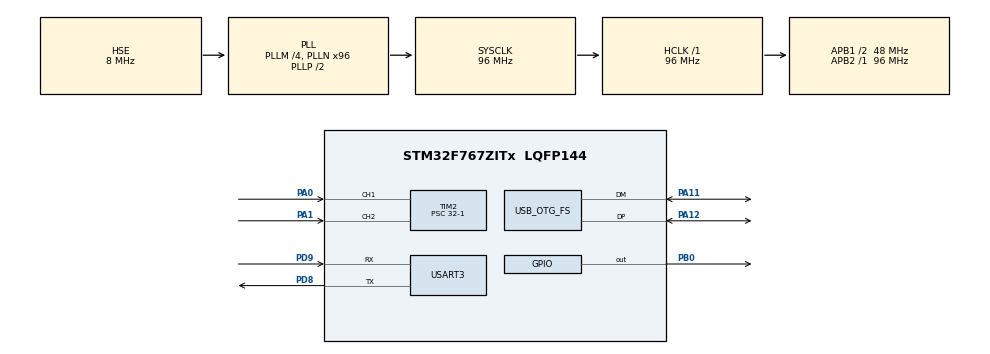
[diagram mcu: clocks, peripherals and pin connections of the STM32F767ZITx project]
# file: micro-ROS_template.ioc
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CORTEX_M7.default_mode_Activation=1
Dma.Request0=USART3_RX
Dma.Request1=USART3_TX
Dma.USART3_RX.0.Direction=DMA_PERIPH_TO_MEMORY
Dma.USART3_RX.0.FIFOMode=DMA_FIFOMODE_DISABLE
Dma.USART3_RX.0.Instance=DMA1_Stream1
Dma.USART3_RX.0.MemDataAlignment=DMA_MDATAALIGN_BYTE
Dma.USART3_RX.0.MemInc=DMA_MINC_ENABLE
Dma.USART3_RX.0.Mode=DMA_CIRCULAR
Dma.USART3_RX.0.PeriphDataAlignment=DMA_PDATAALIGN_BYTE
Dma.USART3_RX.0.PeriphInc=DMA_PINC_DISABLE
Dma.USART3_RX.0.Priority=DMA_PRIORITY_VERY_HIGH
Dma.USART3_TX.1.Direction=DMA_MEMORY_TO_PERIPH
Dma.USART3_TX.1.FIFOMode=DMA_FIFOMODE_DISABLE
Dma.USART3_TX.1.Instance=DMA1_Stream3
Dma.USART3_TX.1.MemDataAlignment=DMA_MDATAALIGN_BYTE
Dma.USART3_TX.1.MemInc=DMA_MINC_ENABLE
Dma.USART3_TX.1.Mode=DMA_NORMAL
Dma.USART3_TX.1.PeriphDataAlignment=DMA_PDATAALIGN_BYTE
Dma.USART3_TX.1.PeriphInc=DMA_PINC_DISABLE
Dma.USART3_TX.1.Priority=DMA_PRIORITY_VERY_HIGH
FREERTOS.Tasks01=defaultTask,24,3000,StartDefaultTask,Default,NULL,Static,defaultTaskBuffer,defaultTaskControlBlock
Mcu.Family=STM32F7
Mcu.Name=STM32F767ZITx
Mcu.Package=LQFP144
NVIC.DMA1_Stream1_IRQn=true\:5\:0\:false\:false\:true\:true\:false\:true\:true
NVIC.DMA1_Stream3_IRQn=true\:5\:0\:false\:false\:true\:true\:false\:true\:true
NVIC.OTG_FS_IRQn=true\:5\:0\:false\:false\:true\:true\:false\:true\:true
NVIC.PriorityGroup=NVIC_PRIORITYGROUP_4
NVIC.TIM8_TRG_COM_TIM14_IRQn=true\:15\:0\:false\:false\:true\:false\:false\:true\:true
NVIC.TimeBase=TIM8_TRG_COM_TIM14_IRQn
NVIC.TimeBaseIP=TIM14
NVIC.USART3_IRQn=true\:5\:0\:false\:false\:true\:true\:true\:true\:true
PA0/WKUP.Signal=S_TIM2_CH1_ETR
PA1.Signal=S_TIM2_CH2
PA11.Mode=Device_Only
PA11.Signal=USB_OTG_FS_DM
PA12.Mode=Device_Only
PA12.Signal=USB_OTG_FS_DP
PB0.Signal=GPIO_Output
PD8.Mode=Asynchronous
PD8.Signal=USART3_TX
PD9.Mode=Asynchronous
PD9.Signal=USART3_RX
PH0/OSC_IN.Mode=HSE-External-Oscillator
PH0/OSC_IN.Signal=RCC_OSC_IN
PH1/OSC_OUT.Mode=HSE-External-Oscillator
PH1/OSC_OUT.Signal=RCC_OSC_OUT
ProjectManager.HeapSize=0x200
ProjectManager.StackSize=0x400
ProjectManager.TargetToolchain=STM32CubeIDE
RCC.AHBFreq_Value=96000000
RCC.APB1CLKDivider=RCC_HCLK_DIV2
RCC.APB1Freq_Value=48000000
RCC.APB1TimFreq_Value=96000000
RCC.APB2Freq_Value=96000000
RCC.APB2TimFreq_Value=96000000
RCC.CortexFreq_Value=96000000
RCC.HCLKFreq_Value=96000000
RCC.HSE_VALUE=8000000
RCC.HSI_VALUE=16000000
RCC.LSE_VALUE=32768
RCC.PLLM=4
RCC.PLLN=96
RCC.PLLQ=4
RCC.SYSCLKFreq_VALUE=96000000
RCC.SYSCLKSource=RCC_SYSCLKSOURCE_PLLCLK
RCC.USBFreq_Value=48000000
RCC.VCOOutputFreq_Value=192000000
SH.S_TIM2_CH1_ETR.0=TIM2_CH1,Encoder_Interface
SH.S_TIM2_CH2.0=TIM2_CH2,Encoder_Interface
TIM2.Period=4096-1
TIM2.Prescaler=32-1
USART3.VirtualMode-Asynchronous=VM_ASYNC
USB_DEVICE.CLASS_NAME_FS=CDC
USB_DEVICE.VirtualMode-CDC_FS=Cdc
USB_DEVICE.VirtualModeFS=Cdc_FS
USB_OTG_FS.VirtualMode=Device_Only
VP_FREERTOS_VS_CMSIS_V2.Mode=CMSIS_V2
VP_SYS_VS_tim14.Mode=TIM14
VP_USB_DEVICE_VS_USB_DEVICE_CDC_FS.Mode=CDC_FS
board=custom

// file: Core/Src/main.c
/* USER CODE BEGIN Header */
/**
  ******************************************************************************
  * @file           : main.c
  * @brief          : Main program body
  ******************************************************************************
  * @attention
  *
  * Copyright (c) 2024 STMicroelectronics.
  * All rights reserved.
  *
  * This software is licensed under terms that can be found in the LICENSE file
  * in the root directory of this software component.
  * If no LICENSE file comes with this software, it is provided AS-IS.
  *
  ******************************************************************************
  */
/* USER CODE END Header */
#include "main.h"
#include "cmsis_os.h"
#include "dma.h"
#include "tim.h"
#include "usart.h"
#include "usb_device.h"
#include "gpio.h"

void SystemClock_Config(void);
static void MPU_Config(void);
void MX_FREERTOS_Init(void);

int main(void)
{

  /* MPU Configuration--------------------------------------------------------*/
  MPU_Config();

  /* MCU Configuration--------------------------------------------------------*/

  /* Reset of all peripherals, Initializes the Flash interface and the Systick. */
  HAL_Init();

  /* Configure the system clock */
  SystemClock_Config();

  /* Initialize all configured peripherals */
  MX_GPIO_Init();
  MX_DMA_Init();
  MX_USART3_UART_Init();
  MX_TIM2_Init();
  /* USER CODE BEGIN 2 */

  //エンコーダ用にTIM2を有効化している。TIMについて、freertos.cでは有効化せず、main.cで有効化する
  HAL_TIM_Encoder_Start(&htim2, TIM_CHANNEL_ALL);

  /* USER CODE END 2 */

  /* Init scheduler */
  osKernelInitialize();

  /* Call init function for freertos objects (in cmsis_os2.c) */
  MX_FREERTOS_Init();

  /* Start scheduler */
  osKernelStart();

  /* We should never get here as control is now taken by the scheduler */

  /* Infinite loop */
  while (1)
  {

  }
}

void SystemClock_Config(void)
{
  RCC_OscInitTypeDef RCC_OscInitStruct = {0};
  RCC_ClkInitTypeDef RCC_ClkInitStruct = {0};

  /** Configure the main internal regulator output voltage
  */
  __HAL_RCC_PWR_CLK_ENABLE();
  __HAL_PWR_VOLTAGESCALING_CONFIG(PWR_REGULATOR_VOLTAGE_SCALE3);

  /** Initializes the RCC Oscillators according to the specified parameters
  * in the RCC_OscInitTypeDef structure.
  */
  RCC_OscInitStruct.OscillatorType = RCC_OSCILLATORTYPE_HSE;
  RCC_OscInitStruct.HSEState = RCC_HSE_ON;
  RCC_OscInitStruct.PLL.PLLState = RCC_PLL_ON;
  RCC_OscInitStruct.PLL.PLLSource = RCC_PLLSOURCE_HSE;
  RCC_OscInitStruct.PLL.PLLM = 4;
  RCC_OscInitStruct.PLL.PLLN = 96;
  RCC_OscInitStruct.PLL.PLLP = RCC_PLLP_DIV2;
  RCC_OscInitStruct.PLL.PLLQ = 4;
  RCC_OscInitStruct.PLL.PLLR = 2;
  if (HAL_RCC_OscConfig(&RCC_OscInitStruct) != HAL_OK)
  {
    Error_Handler();
  }

  /** Activate the Over-Drive mode
  */
  if (HAL_PWREx_EnableOverDrive() != HAL_OK)
  {
    Error_Handler();
  }

  /** Initializes the CPU, AHB and APB buses clocks
  */
  RCC_ClkInitStruct.ClockType = RCC_CLOCKTYPE_HCLK|RCC_CLOCKTYPE_SYSCLK
                              |RCC_CLOCKTYPE_PCLK1|RCC_CLOCKTYPE_PCLK2;
  RCC_ClkInitStruct.SYSCLKSource = RCC_SYSCLKSOURCE_PLLCLK;
  RCC_ClkInitStruct.AHBCLKDivider = RCC_SYSCLK_DIV1;
  RCC_ClkInitStruct.APB1CLKDivider = RCC_HCLK_DIV2;
  RCC_ClkInitStruct.APB2CLKDivider = RCC_HCLK_DIV1;

  if (HAL_RCC_ClockConfig(&RCC_ClkInitStruct, FLASH_LATENCY_3) != HAL_OK)
  {
    Error_Handler();
  }
}

 /* MPU Configuration */

void MPU_Config(void)
{
  MPU_Region_InitTypeDef MPU_InitStruct = {0};

  /* Disables the MPU */
  HAL_MPU_Disable();

  /** Initializes and configures the Region and the memory to be protected
  */
  MPU_InitStruct.Enable = MPU_REGION_ENABLE;
  MPU_InitStruct.Number = MPU_REGION_NUMBER0;
  MPU_InitStruct.BaseAddress = 0x0;
  MPU_InitStruct.Size = MPU_REGION_SIZE_4GB;
  MPU_InitStruct.SubRegionDisable = 0x87;
  MPU_InitStruct.TypeExtField = MPU_TEX_LEVEL0;
  MPU_InitStruct.AccessPermission = MPU_REGION_NO_ACCESS;
  MPU_InitStruct.DisableExec = MPU_INSTRUCTION_ACCESS_DISABLE;
  MPU_InitStruct.IsShareable = MPU_ACCESS_SHAREABLE;
  MPU_InitStruct.IsCacheable = MPU_ACCESS_NOT_CACHEABLE;
  MPU_InitStruct.IsBufferable = MPU_ACCESS_NOT_BUFFERABLE;

  HAL_MPU_ConfigRegion(&MPU_InitStruct);
  /* Enables the MPU */
  HAL_MPU_Enable(MPU_PRIVILEGED_DEFAULT);

}

void HAL_TIM_PeriodElapsedCallback(TIM_HandleTypeDef *htim)
{
  if (htim->Instance == TIM14) {
    HAL_IncTick();
  }
}

void Error_Handler(void)
{
  __disable_irq();
  while (1)
  {
  }
}

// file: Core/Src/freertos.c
/* USER CODE BEGIN Header */
/**
  ******************************************************************************
  * File Name          : freertos.c
  * Description        : Code for freertos applications
  ******************************************************************************
  * @attention
  *
  * Copyright (c) 2024 STMicroelectronics.
  * All rights reserved.
  *
  * This software is licensed under terms that can be found in the LICENSE file
  * in the root directory of this software component.
  * If no LICENSE file comes with this software, it is provided AS-IS.
  *
  ******************************************************************************
  */
/* USER CODE END Header */

#include "FreeRTOS.h"
#include "task.h"
#include "main.h"
#include "cmsis_os.h"

/* USER CODE BEGIN Includes */
#include <stdbool.h>
#include <rcl/rcl.h>
#include <rcl/error_handling.h>
#include <rclc/rclc.h>
#include <rclc/executor.h>
#include <uxr/client/transport.h>
#include <rmw_microxrcedds_c/config.h>
#include <rmw_microros/rmw_microros.h>
#include "usart.h"

#include <std_msgs/msg/int32.h> //publisherで使用するデータ型
#include <geometry_msgs/msg/twist.h> //subscriberで使用するデータ型

/* USER CODE END Includes */

typedef StaticTask_t osStaticThreadDef_t;

/* USER CODE BEGIN PM */
//エラーハンドリング用のマクロ
#define RCCHECK(fn) { rcl_ret_t temp_rc = fn; if((temp_rc != RCL_RET_OK)){printf("Failed status on line %d: %d. Aborting.\n",__LINE__,(int)temp_rc);}}
#define RCSOFTCHECK(fn) { rcl_ret_t temp_rc = fn; if((temp_rc != RCL_RET_OK)){printf("Failed status on line %d: %d. Continuing.\n",__LINE__,(int)temp_rc);}}
/* USER CODE END PM */

/* USER CODE BEGIN Variables */

//micro-ROS関連の変数の初期化。ここにグローバル変数として宣言　　　　　　　　　　　　　　　　　　　　　　　　　　　　　　　　　　　　　　　　　　　　　　　　自分が宣言したい変数を書く必要あり
rcl_publisher_t publisher;
rcl_subscription_t subscriber;
rclc_executor_t executor;
rcl_allocator_t allocator;
rclc_support_t support;
rcl_node_t node;

//publisherの
std_msgs__msg__Int32 encoder_msg;
geometry_msgs__msg__Twist cmd_vel_msg;

/* USER CODE END Variables */
/* Definitions for defaultTask */
osThreadId_t defaultTaskHandle;
uint32_t defaultTaskBuffer[ 3000 ];
osStaticThreadDef_t defaultTaskControlBlock;
const osThreadAttr_t defaultTask_attributes = {
  .name = "defaultTask",
  .cb_mem = &defaultTaskControlBlock,
  .cb_size = sizeof(defaultTaskControlBlock),
  .stack_mem = &defaultTaskBuffer[0],
  .stack_size = sizeof(defaultTaskBuffer),
  .priority = (osPriority_t) osPriorityNormal,
};

/* USER CODE BEGIN FunctionPrototypes */
bool cubemx_transport_open(struct uxrCustomTransport * transport);
bool cubemx_transport_close(struct uxrCustomTransport * transport);
size_t cubemx_transport_write(struct uxrCustomTransport* transport, const uint8_t * buf, size_t len, uint8_t * err);
size_t cubemx_transport_read(struct uxrCustomTransport* transport, uint8_t* buf, size_t len, int timeout, uint8_t* err);

void * microros_allocate(size_t size, void * state);
void microros_deallocate(void * pointer, void * state);
void * microros_reallocate(void * pointer, size_t size, void * state);
void * microros_zero_allocate(size_t number_of_elements, size_t size_of_element, void * state);

void LED_blink(const void *subscribed_msg);
/* USER CODE END FunctionPrototypes */

void StartDefaultTask(void *argument);

extern void MX_USB_DEVICE_Init(void);
void MX_FREERTOS_Init(void); /* (MISRA C 2004 rule 8.1) */

void MX_FREERTOS_Init(void) {
  /* USER CODE BEGIN Init */
//エンコーダスタート

  /* USER CODE END Init */

  /* Create the thread(s) */
  /* creation of defaultTask */
  defaultTaskHandle = osThreadNew(StartDefaultTask, NULL, &defaultTask_attributes);

}

void StartDefaultTask(void *argument)
{
  /* init code for USB_DEVICE */
  MX_USB_DEVICE_Init();
  /* USER CODE BEGIN StartDefaultTask */

  // micro-ROSの設定。
  //　※　ここは基本いじらなくてよいはず
  rmw_uros_set_custom_transport(
    true,
	(void *) &huart3,
	cubemx_transport_open,
	cubemx_transport_close,
	cubemx_transport_write,
	cubemx_transport_read
  );

  rcl_allocator_t freeRTOS_allocator = rcutils_get_zero_initialized_allocator();
  freeRTOS_allocator.allocate = microros_allocate;
  freeRTOS_allocator.deallocate = microros_deallocate;
  freeRTOS_allocator.reallocate = microros_reallocate;
  freeRTOS_allocator.zero_allocate =  microros_zero_allocate;

  if (!rcutils_set_default_allocator(&freeRTOS_allocator)) {
    printf("Error on default allocators (line %d)\n", __LINE__);
  }

  // ここからmicro-ROSのセットアップ
  allocator = rcl_get_default_allocator(); // デフォルトのメモリアロケータを取得
  node = rcl_get_zero_initialized_node(); // 初期化された空のノードを取得
  RCCHECK(rclc_support_init(&support, 0, NULL, &allocator)); //初期化設定の作成

  //　※　ここまで基本触らなくて良いはず

  //ノードの作成。publisherでもsubscriberでも必要
  RCCHECK(rclc_node_init_default(&node, "f7_node", "", &support));

  //publisherの作成
  RCCHECK(rclc_publisher_init_default(
    &publisher,
    &node,
    ROSIDL_GET_MSG_TYPE_SUPPORT(std_msgs, msg, Int32),
    "/f767zi_encoder"));

  //subscriverの作成
  RCCHECK(rclc_subscription_init_default(
	&subscriber,
	&node,
	ROSIDL_GET_MSG_TYPE_SUPPORT(geometry_msgs, msg, Twist),
	  "cmd_vel"));

  //エンコーダのカウントを0で初期化しておく
  encoder_msg.data = 0;

  // コールバックを管理ためのexecutor
  // Subscriber、Timer、Serviceなどもコールバック関数を設定する
  // Publisherだけなら、以降の処理は必要ない
  int callback_size = 1;	// コールバックを行う数
  executor = rclc_executor_get_zero_initialized_executor();
  rclc_executor_init(&executor, &support.context, callback_size, &allocator);
  rclc_executor_add_subscription(&executor, &subscriber, &cmd_vel_msg, //第３引数のcmd_vel_msgは受信したデータを格納する変数。とりあえず設定しといたらいい。
								   &LED_blink, ON_NEW_DATA); // LED_blinkはコールバック関数（後ほど記載）

  /* Infinite loop */
  for(;;)
  {
	//pulishするデータ(encoder_msg.data)にエンコーダの計測値を格納する。
	encoder_msg.data = TIM2->CNT;
	//publisherがencoder_msgをpublishする
	RCSOFTCHECK(rcl_publish(&publisher, &encoder_msg, NULL));

	//subscriptionを実行する
	RCSOFTCHECK(rclc_executor_spin_some(&executor, RCL_MS_TO_NS(100)););

	//100msのDelayを入れる
    osDelay(100);
  }
  /* USER CODE END StartDefaultTask */
}

/* USER CODE BEGIN Application */

/* subscriberのコールバック関数を宣言。　引数はsubscribeしたメッセージを表すが、
   その型はconst void*型にしておく。ただし、関数内で適切な型にキャストする必要がある*/
void LED_blink(const void *subscribed_msg){
  //subscribed_msgは、subscriberが受け取ったメッセージのポインタ。geometry_msgs__msg__Twistにキャストしてcmd_vel_msgに格納。
  //cmd_vel_msgについて、rclc_executor_add_subscription()の第３引数と同じであるが、その必要は特にない
  const geometry_msgs__msg__Twist *cmd_vel_msg = (const geometry_msgs__msg__Twist *)subscribed_msg;

  //受け取ったcmd_velに対してlinear.x(並進x方向の速度)が0以上であれば
  if(cmd_vel_msg->linear.x > 0){
    //LD1点灯
	 HAL_GPIO_WritePin(GPIOB, GPIO_PIN_0, 1);
  }else{
    //LD1消灯
	 HAL_GPIO_WritePin(GPIOB, GPIO_PIN_0, 0);
  }
}

/* USER CODE END Application */
